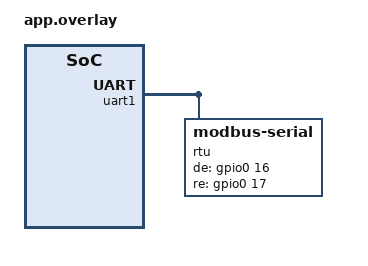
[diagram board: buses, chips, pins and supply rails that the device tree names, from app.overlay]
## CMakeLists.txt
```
cmake_minimum_required(VERSION 3.20)
find_package(Zephyr REQUIRED HINTS $ENV{ZEPHYR_BASE})
project(vel_modbus C)
target_sources(app PRIVATE src/main.c)
target_compile_options(app PRIVATE -Wall -Wextra -Werror)
target_include_directories(app PRIVATE ${ZEPHYR_BASE}/subsys/modbus)
zephyr_link_libraries(-Wl,--wrap=modbus_server_handler)
```

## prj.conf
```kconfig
CONFIG_GPIO=y
CONFIG_SERIAL=y
CONFIG_UART_INTERRUPT_DRIVEN=y
CONFIG_UART_USE_RUNTIME_CONFIGURE=n
CONFIG_UART_CONSOLE=n
CONFIG_POSIX_ARCH_CONSOLE=y
CONFIG_MODBUS=y
CONFIG_MODBUS_ROLE_SERVER=y
CONFIG_MODBUS_FP_EXTENSIONS=n
CONFIG_LOG=y
CONFIG_MODBUS_LOG_LEVEL_DBG=y
CONFIG_MAIN_STACK_SIZE=4096
CONFIG_SYSTEM_WORKQUEUE_STACK_SIZE=4096
CONFIG_THREAD_STACK_INFO=y
CONFIG_INIT_STACKS=y
CONFIG_THREAD_MONITOR=y
CONFIG_ASSERT=y
CONFIG_THREAD_NAME=y
```

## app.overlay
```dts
&uart1 { status = "okay"; rtu: modbus { compatible = "zephyr,modbus-serial"; status = "okay"; de-gpios = <&gpio0 16 0>; re-gpios = <&gpio0 17 0>; }; };
```

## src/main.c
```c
#include <zephyr/kernel.h>
#include <zephyr/drivers/gpio.h>
#include <zephyr/drivers/gpio/gpio_emul.h>
#include <zephyr/drivers/uart.h>
#include <zephyr/modbus/modbus.h>
#include <zephyr/sys/byteorder.h>
#include <modbus_internal.h>
static const struct device *gpio=DEVICE_DT_GET(DT_NODELABEL(gpio0));
static const struct device *control=DEVICE_DT_GET(DT_NODELABEL(uart0));
static uint16_t holding[8]={1,10,500,0,100,0,0,0};
static uint32_t requests,valid,responses,errors,crc_errors,exceptions,edges,rising,falling,samples,beats,de_high,de_low;
static struct gpio_callback cb;
static uint8_t bitmap(unsigned start,unsigned count){uint8_t v=0;for(unsigned i=0;i<count;i++)if(gpio_pin_get(gpio,start+i)>0)v|=BIT(i);return v;}
static uint8_t output(void){gpio_port_value_t v=0;(void)gpio_emul_output_get_masked(gpio,255,&v);return v;}
static uint32_t trace_id;
static gpio_port_value_t previous_direction;

static void trace_direction(const char *event, gpio_port_value_t pins)
{
 if (trace_id != 0) {
  printk("RTU_EVENT id=%u sim_ms=%lld event=%s de=%u re=%u\n",
         trace_id, (long long)k_uptime_get(), event,
         (unsigned int)!!(pins & BIT(16)), (unsigned int)!!(pins & BIT(17)));
 }
}

static gpio_port_value_t direction(void)
{
 gpio_port_value_t pins = 0;

 (void)gpio_emul_output_get_masked(gpio, BIT(16) | BIT(17), &pins);
 return pins & (BIT(16) | BIT(17));
}

static void change(const struct device *dev, struct gpio_callback *callback, uint32_t pins)
{
 (void)dev;
 (void)callback;
 for (unsigned int i = 8; i < 12; ++i) {
  if (pins & BIT(i)) {
   edges++;
   if (gpio_pin_get(gpio, i)) {
    rising++;
   } else {
    falling++;
   }
  }
 }
 if (pins & (BIT(16) | BIT(17))) {
  gpio_port_value_t current = direction();
  if (pins & BIT(16)) {
   if (current & BIT(16)) {
    de_high++;
   } else {
    de_low++;
   }
  }
  if (current != previous_direction) {
   trace_direction("GPIO", current);
   previous_direction = current;
  }
 }
}

static bool range(uint16_t a,uint16_t v){switch(a){case 0:return v<=2;case 1:return v>=1&&v<=1000;case 2:return v<=1000;case 3:return v<=255;case 4:return v>=1&&v<=1000;default:return false;}}
static int coil_rd(uint16_t a,bool*v){if(a>=8)return -ENOTSUP;*v=!!(output()&BIT(a));return 0;}
static int coil_wr(uint16_t a,bool v){if(a>=8)return -ENOTSUP;int rc=gpio_pin_set(gpio,a,v);holding[3]=output();return rc;}
static int di_rd(uint16_t a,bool*v){if(a>=4)return -ENOTSUP;*v=gpio_pin_get(gpio,8+a)>0;return 0;}
static int hr_rd(uint16_t a,uint16_t*v){if(a>=8)return -ENOTSUP;*v=holding[a];return 0;}
static int hr_wr(uint16_t a,uint16_t v){if(a>=5)return -ENOTSUP;if(!range(a,v))return -EINVAL;holding[a]=v;if(a==3)for(unsigned i=0;i<8;i++)(void)gpio_pin_set(gpio,i,!!(v&BIT(i)));return 0;}
static int ir_rd(uint16_t a,uint16_t*v){uint32_t now=(uint32_t)k_uptime_get();switch(a){case 0:*v=holding[0]|((samples>holding[2])?256:0);break;case 1:*v=now;break;case 2:*v=now>>16;break;case 3:*v=requests;break;case 4:*v=responses;break;case 5:*v=errors;break;case 6:*v=bitmap(8,4);break;case 7:*v=output();break;default:return -ENOTSUP;}return 0;}
/* Application validation shim around the pinned official dispatcher. The official
 * UART framing, CRC, standard handlers and response serializer stay unchanged.
 * Preflight prevents the upstream per-item write callbacks from partial commits. */
bool __real_modbus_server_handler(struct modbus_context *ctx);
bool __wrap_modbus_server_handler(struct modbus_context *ctx){
 trace_direction("RX_DISPATCH", direction());
 requests++;struct modbus_adu *p=&ctx->rx_adu;uint8_t ex=0;bool write=p->fc==5||p->fc==6||p->fc==15||p->fc==16;
 if(ctx->rx_adu_err){errors++;if(ctx->rx_adu_err==-EIO)crc_errors++;return __real_modbus_server_handler(ctx);}
 if(p->unit_id!=1&&p->unit_id!=0)return __real_modbus_server_handler(ctx);
 valid++;
 if(write){
  if(p->length<4)ex=3;
  else{unsigned a=sys_get_be16(p->data),qty=(p->fc==5||p->fc==6)?1:sys_get_be16(p->data+2),max=(p->fc==5||p->fc==15)?8:5;
   if(!qty)ex=3;else if(a>=max||qty>max-a)ex=2;
   else if(p->fc==5){if(p->length!=4||(sys_get_be16(p->data+2)!=0&&sys_get_be16(p->data+2)!=0xff00))ex=3;}
   else if(p->fc==6){if(p->length!=4||!range(a,sys_get_be16(p->data+2)))ex=3;}
   else{unsigned bytes=p->fc==15?(qty+7)/8:qty*2;if(p->length!=bytes+5||p->data[4]!=bytes)ex=3;
    else if(p->fc==16)for(unsigned i=0;i<qty;i++)if(!range(a+i,sys_get_be16(p->data+5+2*i)))ex=3;
   }
  }
 }
 if(ex){errors++;exceptions++;ctx->tx_adu=*p;ctx->tx_adu.fc=p->fc|128;ctx->tx_adu.length=1;ctx->tx_adu.data[0]=ex;if(p->unit_id){responses++;trace_direction("RESPONSE_PREPARED", direction());return true;}return false;}
 bool result=__real_modbus_server_handler(ctx);if(result){responses++;trace_direction("RESPONSE_PREPARED", direction());if(ctx->tx_adu.fc&128){errors++;exceptions++;}else if(write)holding[5]++;}return result;
}
static struct modbus_user_callbacks callbacks={.coil_rd=coil_rd,.coil_wr=coil_wr,.discrete_input_rd=di_rd,.holding_reg_rd=hr_rd,.holding_reg_wr=hr_wr,.input_reg_rd=ir_rd};
static void thread_stats(const struct k_thread *t,void *arg){(void)arg;size_t free=0;int rc=k_thread_stack_space_get(t,&free);printk("THREAD name=%s size=%u unused=%u rc=%d\n",k_thread_name_get((k_tid_t)t),(unsigned)t->stack_info.size,(unsigned)free,rc);}
static void stats(void){size_t unused=0;(void)k_thread_stack_space_get(k_current_get(),&unused);gpio_port_value_t v=0;(void)gpio_emul_output_get_masked(gpio,0x30000,&v);printk("STATS requests=%u valid=%u responses=%u errors=%u crc=%u exceptions=%u edges=%u rising=%u falling=%u samples=%u beats=%u de_high=%u de_low=%u direction=%u di=%u do=%u commands=%u unused=%u\n",requests,valid,responses,errors,crc_errors,exceptions,edges,rising,falling,samples,beats,de_high,de_low,(unsigned)(v&0x30000),bitmap(8,4),output(),holding[5],(unsigned)unused);}
/* The PTY exposes TX bytes before Zephyr finishes the half-duplex turn-around.
 * Answer on UART0 from main, after the higher-priority UART callback has
 * drained any local echo and enabled RX. UART1 carries only RTU frames.
 */
static bool rtu_rx_ready(void)
{
 gpio_port_value_t direction;

 return gpio_emul_output_get_masked(gpio, BIT(16) | BIT(17), &direction) == 0 &&
        (direction & (BIT(16) | BIT(17))) == BIT(17);
}

int main(void){
 if(!device_is_ready(gpio)||!device_is_ready(control))return 2;
 for(unsigned i=0;i<8;i++)if(gpio_pin_configure(gpio,i,GPIO_OUTPUT_LOW))return 2;
 for(unsigned i=8;i<12;i++){if(gpio_pin_configure(gpio,i,GPIO_INPUT)||gpio_pin_interrupt_configure(gpio,i,GPIO_INT_EDGE_BOTH))return 2;}
 gpio_init_callback(&cb,change,0xf00|BIT(16)|BIT(17));(void)gpio_add_callback(gpio,&cb);
 struct modbus_iface_param p={.mode=MODBUS_MODE_RTU,.server={.unit_id=1,.user_cb=&callbacks},.serial={.baud=115200,.parity=UART_CFG_PARITY_EVEN}};
 int iface=modbus_iface_get_by_name(DEVICE_DT_NAME(DT_NODELABEL(rtu)));int rc=modbus_init_server(iface,p);printk("MODBUS_INIT rc=%d iface=%d software=115200_8E1\n",rc,iface);if(rc)return 2;
 bool ready_requested = false;
 uint32_t requested_id = 0;
 unsigned int tag_bytes = 0;
 int64_t next=0,heartbeat=0,report=1000;while(k_uptime_get()<120000){
  unsigned char c;
  while (uart_poll_in(control, &c) == 0) {
   if (tag_bytes != 0) {
    requested_id = (requested_id << 8) | c;
    if (--tag_bytes == 0) {
     ready_requested = true;
    }
   } else if (c >= 'A' && c <= 'P') {
    unsigned int bits = c - 'A';
    for (unsigned int i = 0; i < 4; ++i) {
     (void)gpio_emul_input_set(gpio, 8 + i, !!(bits & BIT(i)));
    }
    printk("INPUT bits=%u\n", bits);
   } else if (c == 'S') {
    stats();
    k_thread_foreach(thread_stats, NULL);
   } else if (c == 'R' || c == 'T') {
    requested_id = 0;
    tag_bytes = c == 'T' ? 4 : 0;
    ready_requested = tag_bytes == 0;
   }
  }
  if (ready_requested && rtu_rx_ready()) {
   trace_id = requested_id;
   trace_direction("READY", direction());
   uart_poll_out(control, 'R');
   ready_requested = false;
  }
  int64_t now=k_uptime_get();if(holding[0]&&now>=next){samples++;next=now+holding[1];}if(now>=heartbeat){beats++;heartbeat=now+holding[4];}if(now>=report){stats();report=now+1000;}k_msleep(1);
 }stats();return 0;
}
```
